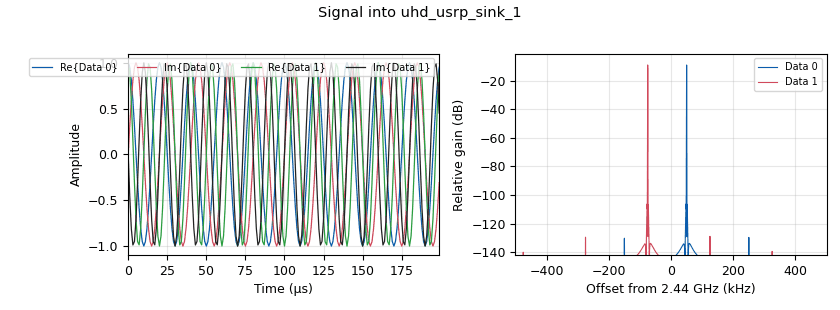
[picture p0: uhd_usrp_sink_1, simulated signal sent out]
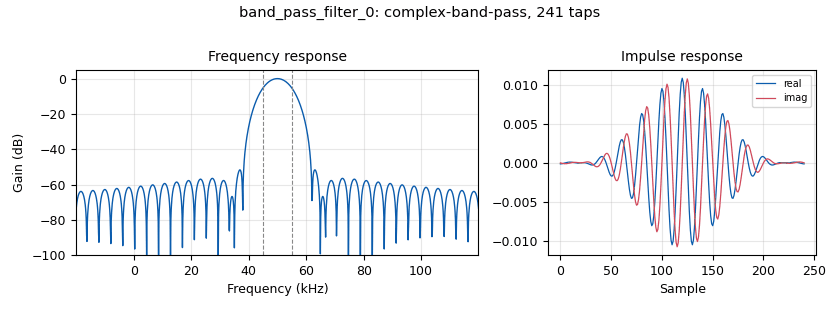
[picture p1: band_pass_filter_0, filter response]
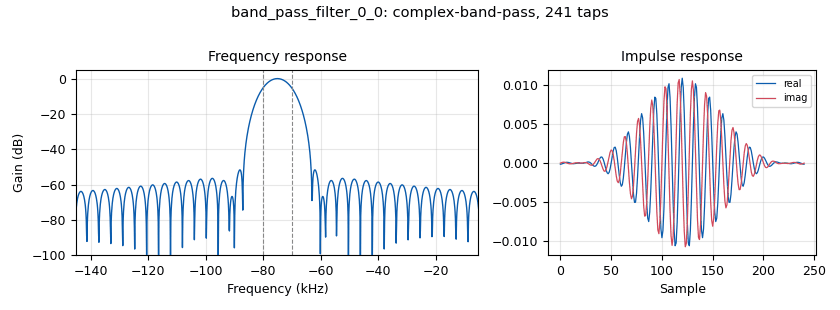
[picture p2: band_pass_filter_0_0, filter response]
options:
  parameters:
    comment: |-
      Wait for the phase shift coefficient to stabilise - 5min
      "num_recv_frames=1024" is absolutely critical for consistent data flow

          def set_trigger_measurment(self, trigger_measurment):
              self.trigger_measurment = trigger_measurment
              self._trigger_measurment_callback(self.trigger_measurment)

              if trigger_measurment == True:
                  self.aoa_head_w_rst_0_0.reset(True)
                  self.aoa_head_w_rst_0_0_0.reset(True)
                  self.aoa_head_w_rst_0_0_0_0.reset(True)  

                  self.blocks_selector_1_0.set_output_index(self.trigger_measurment)
                  self.blocks_selector_1_0_0.set_output_index(self.trigger_measurment)
                  self.blocks_selector_1_0_0_0.set_output_index(self.trigger_measurment)
    generate_options: qt_gui
    id: run_usrp_wireless_cal_meas_double_tone
    output_language: python
    run_options: run
    title: USRP double tone wireless RX phase calibration
  states: {}

blocks:
- name: cal_freq_1
  id: variable
  parameters:
    value: int(50e3)
  states: {}
- name: cal_freq_2
  id: variable
  parameters:
    value: int(-75e3)
  states: {}
- name: decimation
  id: variable
  parameters:
    value: int(1e3)
  states: {}
- name: meas_ant_separation_mm
  id: variable
  parameters:
    value: '0'
  states: {}
- name: meas_time_s
  id: variable_qtgui_range
  parameters:
    gui_hint: ctrl@0:2,0,1,1
    orient: Qt.Horizontal
    start: '0'
    step: '1'
    stop: '360'
    value: '10'
  states: {}
- name: n_saved_sampl
  id: variable
  parameters:
    value: int(samp_rate*meas_time_s/decimation)
  states: {}
- name: n_skip
  id: variable
  parameters:
    value: int(samp_rate)
  states: {}
- name: round_idx
  id: variable_qtgui_range
  parameters:
    gui_hint: ctrl@0:1,0,1,1
    label: Measurment round index
    orient: Qt.Horizontal
    start: '0'
    step: '1'
    stop: '150'
    value: '0'
  states: {}
- name: rx_gain_1
  id: variable_qtgui_range
  parameters:
    gui_hint: pwr@0:0,0,1,1
    label: rx_gain_1
    orient: Qt.Horizontal
    start: '0'
    step: '1'
    stop: '76'
    value: '30'
  states: {}
- name: rx_gain_2
  id: variable_qtgui_range
  parameters:
    gui_hint: pwr@0:1,0,1,1
    label: rx_gain_2
    orient: Qt.Horizontal
    start: '0'
    step: '1'
    stop: '76'
    value: '30'
  states: {}
- name: samp_rate
  id: variable
  parameters:
    value: int(1e+6)
  states: {}
- name: speed_of_light
  id: variable
  parameters:
    value: '299792458'
  states: {}
- name: trigger_measurment
  id: variable_qtgui_check_box
  parameters:
    'false': 'False'
    gui_hint: ctrl@0:0,0,1,1
    label: Trigger measurment
    'true': 'True'
    type: bool
    value: 'False'
  states: {}
- name: tx_gain_1
  id: variable_qtgui_range
  parameters:
    gui_hint: pwr@0:2,0,1,1
    label: tx_gain_1
    orient: Qt.Horizontal
    start: '0'
    step: '1'
    stop: '90'
    value: '40'
  states: {}
- name: tx_gain_2
  id: variable_qtgui_range
  parameters:
    gui_hint: pwr@0:3,0,1,1
    label: tx_gain_2
    orient: Qt.Horizontal
    start: '0'
    step: '1'
    stop: '90'
    value: '40'
  states: {}
- name: analog_sig_source_x_0_0
  id: analog_sig_source_x
  parameters:
    amp: '1'
    freq: cal_freq_1
    offset: '0'
    phase: '0'
    samp_rate: samp_rate
    type: complex
    waveform: analog.GR_COS_WAVE
  states: {}
- name: analog_sig_source_x_0_0_0
  id: analog_sig_source_x
  parameters:
    amp: '1'
    freq: cal_freq_2
    offset: '0'
    phase: '0'
    samp_rate: samp_rate
    type: complex
    waveform: analog.GR_COS_WAVE
  states: {}
- name: aoa_calc_phase_diff_0_0_0
  id: aoa_calc_phase_diff
  parameters:
    node_idx: '1'
    norm_spacing: meas_ant_separation_mm*1e-3/(speed_of_light/center_freq)
  states: {}
- name: aoa_calc_phase_diff_0_0_0_0
  id: aoa_calc_phase_diff
  parameters:
    node_idx: '1'
    norm_spacing: meas_ant_separation_mm*1e-3/(speed_of_light/center_freq)
  states: {}
- name: aoa_head_w_rst_0_0
  id: aoa_head_w_rst
  parameters:
    dump_buff: 'True'
    num_items: n_saved_sampl
    type: float
    vlen: '1'
  states: {}
- name: aoa_head_w_rst_0_0_0
  id: aoa_head_w_rst
  parameters:
    dump_buff: 'True'
    num_items: n_saved_sampl
    type: float
    vlen: '1'
  states: {}
- name: aoa_head_w_rst_0_0_0_0
  id: aoa_head_w_rst
  parameters:
    dump_buff: 'True'
    num_items: n_saved_sampl
    type: float
    vlen: '1'
  states: {}
- name: aoa_precise_moving_average_0_0_0_0_0_0_0
  id: aoa_precise_moving_average
  parameters:
    length: int(1e5)
    max_iter: int(1e5)
  states: {}
- name: aoa_precise_moving_average_0_0_0_0_0_0_0_0
  id: aoa_precise_moving_average
  parameters:
    length: int(1e5)
    max_iter: int(1e5)
  states: {}
- name: aoa_precise_moving_average_0_0_0_0_0_0_0_0_1
  id: aoa_precise_moving_average
  parameters:
    length: int(1e5)
    max_iter: int(1e5)
  states: {}
- name: band_pass_filter_0
  id: band_pass_filter
  parameters:
    decim: '1'
    gain: '1'
    high_cutoff_freq: cal_freq_1+5e3
    low_cutoff_freq: cal_freq_1-5e3
    samp_rate: samp_rate
    type: fir_filter_ccc
    width: '10e+3'
    win: firdes.WIN_HAMMING
  states: {}
- name: band_pass_filter_0_0
  id: band_pass_filter
  parameters:
    decim: '1'
    gain: '1'
    high_cutoff_freq: cal_freq_2+5e3
    low_cutoff_freq: cal_freq_2-5e3
    samp_rate: samp_rate
    type: fir_filter_ccc
    width: '10e+3'
    win: firdes.WIN_HAMMING
  states: {}
- name: band_pass_filter_0_1
  id: band_pass_filter
  parameters:
    decim: '1'
    gain: '1'
    high_cutoff_freq: cal_freq_1+5e3
    low_cutoff_freq: cal_freq_1-5e3
    samp_rate: samp_rate
    type: fir_filter_ccc
    width: '10e+3'
    win: firdes.WIN_HAMMING
  states: {}
- name: band_pass_filter_0_1_0
  id: band_pass_filter
  parameters:
    decim: '1'
    gain: '1'
    high_cutoff_freq: cal_freq_2+5e3
    low_cutoff_freq: cal_freq_2-5e3
    samp_rate: samp_rate
    type: fir_filter_ccc
    width: '10e+3'
    win: firdes.WIN_HAMMING
  states: {}
- name: blocks_add_xx_0
  id: blocks_add_xx
  parameters:
    type: complex
  states: {}
- name: blocks_add_xx_0_0
  id: blocks_add_xx
  parameters:
    type: complex
  states: {}
- name: blocks_add_xx_1
  id: blocks_add_xx
  parameters:
    type: float
  states: {}
- name: blocks_complex_to_real_0
  id: blocks_complex_to_real
  parameters: {}
  states: {}
- name: blocks_complex_to_real_0_0
  id: blocks_complex_to_real
  parameters: {}
  states: {}
- name: blocks_complex_to_real_0_0_0
  id: blocks_complex_to_real
  parameters: {}
  states: {}
- name: blocks_complex_to_real_0_0_0_0
  id: blocks_complex_to_real
  parameters: {}
  states: {}
- name: blocks_file_sink_0_4_0
  id: blocks_file_sink
  parameters:
    file: '"/home/marcin/Desktop/wi_coeff_eval/phase_mav_100k_bp_filtered_f_%d_chan_0_round_%d.bin" % (center_freq, round_idx)'
    type: float
  states: {}
- name: blocks_file_sink_0_4_0_0
  id: blocks_file_sink
  parameters:
    file: '"/home/marcin/Desktop/wi_coeff_eval/phase_mav_100k_bp_filtered_f_%d_chan_1_round_%d.bin" % (center_freq, round_idx)'
    type: float
  states: {}
- name: blocks_file_sink_0_4_0_0_0
  id: blocks_file_sink
  parameters:
    file: '"/home/marcin/Desktop/wi_coeff_eval/phase_mav_100k_bp_filtered_f_%d_chan_avg_round_%d.bin" % (center_freq, round_idx)'
    type: float
  states: {}
- name: blocks_multiply_const_vxx_0
  id: blocks_multiply_const_vxx
  parameters:
    const: '-1'
    type: float
  states: {}
- name: blocks_multiply_const_vxx_1
  id: blocks_multiply_const_vxx
  parameters:
    const: '0.5'
    type: float
  states: {}
- name: blocks_null_sink_0_0
  id: blocks_null_sink
  parameters:
    type: float
  states: {}
- name: blocks_null_sink_0_0_0
  id: blocks_null_sink
  parameters:
    type: float
  states: {}
- name: blocks_null_sink_0_0_0_0
  id: blocks_null_sink
  parameters:
    type: float
  states: {}
- name: blocks_selector_1_0
  id: blocks_selector
  parameters:
    enabled: 'True'
    input_index: '0'
    num_inputs: '1'
    num_outputs: '2'
    output_index: trigger_measurment
    type: float
  states: {}
- name: blocks_selector_1_0_0
  id: blocks_selector
  parameters:
    enabled: 'True'
    input_index: '0'
    num_inputs: '1'
    num_outputs: '2'
    output_index: trigger_measurment
    type: float
  states: {}
- name: blocks_selector_1_0_0_0
  id: blocks_selector
  parameters:
    enabled: 'True'
    input_index: '0'
    num_inputs: '1'
    num_outputs: '2'
    output_index: trigger_measurment
    type: float
  states: {}
- name: blocks_skiphead_0
  id: blocks_skiphead
  parameters:
    num_items: n_skip
    type: complex
  states: {}
- name: blocks_skiphead_0_0
  id: blocks_skiphead
  parameters:
    num_items: n_skip
    type: complex
  states: {}
- name: center_freq
  id: parameter
  parameters:
    type: intx
    value: int(2.44e+9)
  states: {}
- name: ctrl
  id: qtgui_tab_widget
  parameters:
    gui_hint: 0,0,1,1
    label0: Controls
    num_tabs: '1'
  states: {}
- name: fir_filter_xxx_0_4_0
  id: fir_filter_xxx
  parameters:
    decim: decimation
    taps: '1'
    type: fff
  states: {}
- name: fir_filter_xxx_0_4_0_0
  id: fir_filter_xxx
  parameters:
    decim: decimation
    taps: '1'
    type: fff
  states: {}
- name: fir_filter_xxx_0_4_0_0_0
  id: fir_filter_xxx
  parameters:
    decim: decimation
    taps: '1'
    type: fff
  states: {}
- name: phase_coeff
  id: qtgui_tab_widget
  parameters:
    gui_hint: 1,1,1,1
    label0: Phase coeff
    num_tabs: '1'
  states: {}
- name: pwr
  id: qtgui_tab_widget
  parameters:
    gui_hint: '0,1,1,1 '
    label0: Power controls
    num_tabs: '1'
  states: {}
- name: qtgui_edit_box_msg_0_0
  id: qtgui_edit_box_msg
  parameters:
    gui_hint: ctrl@0:3,0,1,1
    is_pair: 'False'
    is_static: 'False'
    label: AoA error measurment status
    type: string
  states: {}
- name: qtgui_freq_sink_x_0
  id: qtgui_freq_sink_x
  parameters:
    average: '0.1'
    bw: samp_rate
    fc: center_freq
    fftsize: 1024*2
    gui_hint: signals@0:1,0,1,1
    nconnections: '4'
    type: complex
    wintype: firdes.WIN_BLACKMAN_hARRIS
  states: {}
- name: qtgui_number_sink_0_0
  id: qtgui_number_sink
  parameters:
    graph_type: qtgui.NUM_GRAPH_HORIZ
    gui_hint: phase_coeff@0:0,0,1,1
    label1: Phase 1
    label2: 'Average '
    label3: Phase 2
    max: '3'
    min: '-3'
    nconnections: '3'
    type: float
  states: {}
- name: qtgui_time_sink_x_0_0
  id: qtgui_time_sink_x
  parameters:
    color2: green
    color3: red
    gui_hint: phase_coeff@0:1,0,1,1
    label2: Average
    label3: Signal 2
    nconnections: '3'
    size: '1024'
    srate: samp_rate
    type: float
    ymax: '0.4'
    ymin: '-0.1'
  states: {}
- name: qtgui_time_sink_x_1
  id: qtgui_time_sink_x
  parameters:
    autoscale: 'True'
    grid: 'True'
    gui_hint: signals@0:0,0,1,1
    nconnections: '4'
    size: int(1024/16)
    srate: samp_rate
    tr_mode: qtgui.TRIG_MODE_AUTO
    type: float
    ymax: '-1'
    ymin: '1'
  states: {}
- name: signals
  id: qtgui_tab_widget
  parameters:
    gui_hint: 1,0,1,1
    label0: Signals
    num_tabs: '1'
  states: {}
- name: uhd_usrp_sink_1
  id: uhd_usrp_sink
  parameters:
    ant0: TX/RX
    ant1: TX/RX
    bw0: samp_rate
    bw1: samp_rate
    center_freq0: center_freq
    center_freq1: center_freq
    dev_addr: '"serial = 3111864"  '
    dev_args: '"num_send_frames=1024"'
    gain0: tx_gain_1
    gain1: tx_gain_2
    len_tag_name: ''
    nchan: '2'
    norm_gain0: 'False'
    norm_gain1: 'False'
    samp_rate: samp_rate
    sync: pc_clock
    type: fc32
  states: {}
- name: uhd_usrp_source_0
  id: uhd_usrp_source
  parameters:
    ant0: RX2
    ant1: RX2
    bw0: samp_rate
    bw1: samp_rate
    center_freq0: center_freq
    center_freq1: center_freq
    dc_offs_enb0: 'True'
    dc_offs_enb1: 'True'
    dev_addr: '"serial=3113F3B" '
    dev_args: '"num_recv_frames=1024"'
    gain0: rx_gain_1
    gain1: rx_gain_2
    iq_imbal_enb0: 'True'
    iq_imbal_enb1: 'True'
    nchan: '2'
    norm_gain0: 'False'
    norm_gain1: 'False'
    samp_rate: samp_rate
    sync: pc_clock
    type: fc32
  states: {}

connections:
- [analog_sig_source_x_0_0, '0', uhd_usrp_sink_1, '0']
- [analog_sig_source_x_0_0_0, '0', uhd_usrp_sink_1, '1']
- [aoa_calc_phase_diff_0_0_0, '0', aoa_precise_moving_average_0_0_0_0_0_0_0, '0']
- [aoa_calc_phase_diff_0_0_0, '0', blocks_add_xx_1, '0']
- [aoa_calc_phase_diff_0_0_0, '0', qtgui_time_sink_x_0_0, '0']
- [aoa_calc_phase_diff_0_0_0_0, '0', blocks_multiply_const_vxx_0, '0']
- [aoa_head_w_rst_0_0, '0', blocks_file_sink_0_4_0, '0']
- [aoa_head_w_rst_0_0, status, qtgui_edit_box_msg_0_0, val]
- [aoa_head_w_rst_0_0_0, '0', blocks_file_sink_0_4_0_0, '0']
- [aoa_head_w_rst_0_0_0_0, '0', blocks_file_sink_0_4_0_0_0, '0']
- [aoa_precise_moving_average_0_0_0_0_0_0_0, '0', fir_filter_xxx_0_4_0, '0']
- [aoa_precise_moving_average_0_0_0_0_0_0_0, '0', qtgui_number_sink_0_0, '0']
- [aoa_precise_moving_average_0_0_0_0_0_0_0_0, '0', fir_filter_xxx_0_4_0_0, '0']
- [aoa_precise_moving_average_0_0_0_0_0_0_0_0, '0', qtgui_number_sink_0_0, '2']
- [aoa_precise_moving_average_0_0_0_0_0_0_0_0_1, '0', fir_filter_xxx_0_4_0_0_0, '0']
- [aoa_precise_moving_average_0_0_0_0_0_0_0_0_1, '0', qtgui_number_sink_0_0, '1']
- [band_pass_filter_0, '0', aoa_calc_phase_diff_0_0_0, '0']
- [band_pass_filter_0, '0', blocks_add_xx_0, '0']
- [band_pass_filter_0, '0', blocks_complex_to_real_0, '0']
- [band_pass_filter_0_0, '0', aoa_calc_phase_diff_0_0_0_0, '1']
- [band_pass_filter_0_0, '0', blocks_add_xx_0, '1']
- [band_pass_filter_0_0, '0', blocks_complex_to_real_0_0_0_0, '0']
- [band_pass_filter_0_1, '0', aoa_calc_phase_diff_0_0_0, '1']
- [band_pass_filter_0_1, '0', blocks_add_xx_0_0, '0']
- [band_pass_filter_0_1, '0', blocks_complex_to_real_0_0_0, '0']
- [band_pass_filter_0_1_0, '0', aoa_calc_phase_diff_0_0_0_0, '0']
- [band_pass_filter_0_1_0, '0', blocks_add_xx_0_0, '1']
- [band_pass_filter_0_1_0, '0', blocks_complex_to_real_0_0, '0']
- [blocks_add_xx_0, '0', qtgui_freq_sink_x_0, '2']
- [blocks_add_xx_0_0, '0', qtgui_freq_sink_x_0, '3']
- [blocks_add_xx_1, '0', blocks_multiply_const_vxx_1, '0']
- [blocks_complex_to_real_0, '0', qtgui_time_sink_x_1, '0']
- [blocks_complex_to_real_0_0, '0', qtgui_time_sink_x_1, '3']
- [blocks_complex_to_real_0_0_0, '0', qtgui_time_sink_x_1, '1']
- [blocks_complex_to_real_0_0_0_0, '0', qtgui_time_sink_x_1, '2']
- [blocks_multiply_const_vxx_0, '0', aoa_precise_moving_average_0_0_0_0_0_0_0_0, '0']
- [blocks_multiply_const_vxx_0, '0', blocks_add_xx_1, '1']
- [blocks_multiply_const_vxx_0, '0', qtgui_time_sink_x_0_0, '2']
- [blocks_multiply_const_vxx_1, '0', aoa_precise_moving_average_0_0_0_0_0_0_0_0_1, '0']
- [blocks_multiply_const_vxx_1, '0', qtgui_time_sink_x_0_0, '1']
- [blocks_selector_1_0, '0', blocks_null_sink_0_0, '0']
- [blocks_selector_1_0, '1', aoa_head_w_rst_0_0, '0']
- [blocks_selector_1_0_0, '0', blocks_null_sink_0_0_0, '0']
- [blocks_selector_1_0_0, '1', aoa_head_w_rst_0_0_0, '0']
- [blocks_selector_1_0_0_0, '0', blocks_null_sink_0_0_0_0, '0']
- [blocks_selector_1_0_0_0, '1', aoa_head_w_rst_0_0_0_0, '0']
- [blocks_skiphead_0, '0', band_pass_filter_0, '0']
- [blocks_skiphead_0, '0', band_pass_filter_0_0, '0']
- [blocks_skiphead_0, '0', qtgui_freq_sink_x_0, '0']
- [blocks_skiphead_0_0, '0', band_pass_filter_0_1, '0']
- [blocks_skiphead_0_0, '0', band_pass_filter_0_1_0, '0']
- [blocks_skiphead_0_0, '0', qtgui_freq_sink_x_0, '1']
- [fir_filter_xxx_0_4_0, '0', blocks_selector_1_0, '0']
- [fir_filter_xxx_0_4_0_0, '0', blocks_selector_1_0_0, '0']
- [fir_filter_xxx_0_4_0_0_0, '0', blocks_selector_1_0_0_0, '0']
- [uhd_usrp_source_0, '0', blocks_skiphead_0, '0']
- [uhd_usrp_source_0, '1', blocks_skiphead_0_0, '0']

metadata:
  file_format: 1
